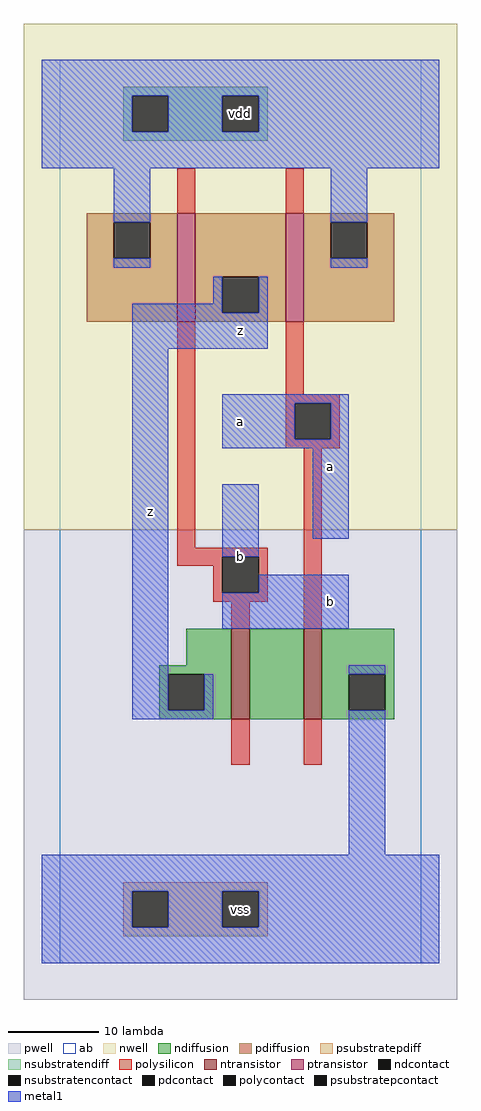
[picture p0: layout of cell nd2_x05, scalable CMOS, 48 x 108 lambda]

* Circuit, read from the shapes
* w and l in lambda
.subckt nd2_x05 a b vdd vss z
M1 n1 b z vss nfet w=10 l=2
M2 vss a n1 vss nfet w=10 l=2
M3 z b vdd vdd pfet w=12 l=2
M4 vdd a z vdd pfet w=12 l=2
.ends

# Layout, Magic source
magic
tech scmos
<< ab >>
rect 0 0 40 100
<< pwell >>
rect -4 -4 44 48
<< nwell >>
rect -4 48 44 104
<< polysilicon >>
rect 13 83 15 88
rect 25 83 27 88
rect 13 46 15 71
rect 25 63 27 71
rect 25 62 31 63
rect 25 58 26 62
rect 30 58 31 62
rect 25 57 31 58
rect 13 45 23 46
rect 13 44 18 45
rect 17 41 18 44
rect 22 41 23 45
rect 17 40 23 41
rect 19 37 21 40
rect 27 37 29 57
rect 19 22 21 27
rect 27 22 29 27
<< ndiffusion >>
rect 14 33 19 37
rect 11 32 19 33
rect 11 28 12 32
rect 16 28 19 32
rect 11 27 19 28
rect 21 27 27 37
rect 29 32 37 37
rect 29 28 32 32
rect 36 28 37 32
rect 29 27 37 28
<< pdiffusion >>
rect 3 82 13 83
rect 3 78 6 82
rect 10 78 13 82
rect 3 71 13 78
rect 15 76 25 83
rect 15 72 18 76
rect 22 72 25 76
rect 15 71 25 72
rect 27 82 37 83
rect 27 78 30 82
rect 34 78 37 82
rect 27 71 37 78
<< metal1 >>
rect -2 96 42 100
rect -2 92 8 96
rect 12 92 18 96
rect 22 92 42 96
rect -2 88 42 92
rect 6 82 10 88
rect 6 77 10 78
rect 30 82 34 88
rect 30 77 34 78
rect 17 73 18 76
rect 8 72 18 73
rect 22 72 23 76
rect 8 68 23 72
rect 8 28 12 68
rect 18 62 32 63
rect 18 58 26 62
rect 30 58 32 62
rect 18 57 32 58
rect 18 45 22 53
rect 28 47 32 57
rect 22 41 32 43
rect 18 37 32 41
rect 32 32 36 33
rect 16 28 17 32
rect 8 27 17 28
rect 32 12 36 28
rect -2 8 42 12
rect -2 4 8 8
rect 12 4 18 8
rect 22 4 42 8
rect -2 0 42 4
<< ntransistor >>
rect 19 27 21 37
rect 27 27 29 37
<< ptransistor >>
rect 13 71 15 83
rect 25 71 27 83
<< polycontact >>
rect 26 58 30 62
rect 18 41 22 45
<< ndcontact >>
rect 12 28 16 32
rect 32 28 36 32
<< pdcontact >>
rect 6 78 10 82
rect 18 72 22 76
rect 30 78 34 82
<< psubstratepcontact >>
rect 8 4 12 8
rect 18 4 22 8
<< nsubstratencontact >>
rect 8 92 12 96
rect 18 92 22 96
<< psubstratepdiff >>
rect 7 8 23 9
rect 7 4 8 8
rect 12 4 18 8
rect 22 4 23 8
rect 7 3 23 4
<< nsubstratendiff >>
rect 7 96 23 97
rect 7 92 8 96
rect 12 92 18 96
rect 22 92 23 96
rect 7 91 23 92
<< labels >>
rlabel metal1 10 50 10 50 6 z
rlabel psubstratepcontact 20 6 20 6 6 vss
rlabel metal1 20 45 20 45 6 b
rlabel metal1 20 60 20 60 6 a
rlabel metal1 20 70 20 70 6 z
rlabel nsubstratencontact 20 94 20 94 6 vdd
rlabel metal1 30 40 30 40 6 b
rlabel metal1 30 55 30 55 6 a
<< end >>
